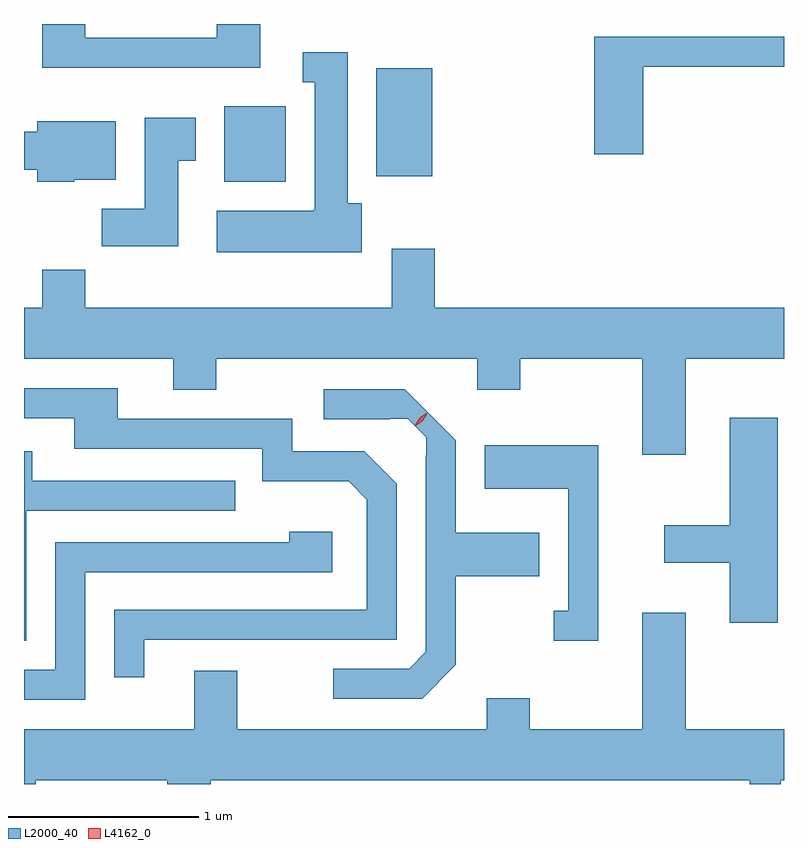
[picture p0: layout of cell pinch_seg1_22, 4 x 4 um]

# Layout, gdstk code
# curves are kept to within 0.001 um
import gdstk
lib = gdstk.Library(unit=1e-6, precision=1e-09)
def R(c, l, rs):  # rectangles x0, y0, x1, y1
    for r in rs: c.add(gdstk.rectangle(r[:2], r[2:], *l))
def P(c, l, *ps):  # polygons
    for p in ps: c.add(gdstk.Polygon(p, *l))
L2000_40 = (2000, 40)
L4162_0 = (4162, 0)

pinch_seg1_22 = lib.new_cell('pinch_seg1_22')
R(pinch_seg1_22, L2000_40, [(1098.361,904.946,1098.684,905.344), (1099.161,904.976,1099.454,905.544)])
P(pinch_seg1_22, L2000_40, [(1098.549,905.777),(1098.321,905.777),(1098.321,905.704),(1097.629,905.704),(1097.629,905.777),(1097.401,905.777),(1097.401,905.546),(1098.549,905.546)],
  [(1100.564,905.551),(1101.306,905.551),(1101.306,905.709),(1100.306,905.709),(1100.306,905.091),(1100.564,905.091)],
  [(1099.084,904.834),(1099.009,904.834),(1099.009,905.629),(1098.773,905.629),(1098.773,905.471),(1098.836,905.471),(1098.836,904.8),(1098.83,904.8),(1098.83,904.794),(1098.321,904.794),(1098.321,904.576),(1099.084,904.576)],
  [(1098.119,905.056),(1098.209,905.056),(1098.209,905.284),(1097.941,905.284),(1097.941,904.804),(1097.716,904.804),(1097.716,904.606),(1098.119,904.606)],
  [(1097.57,904.956),(1097.789,904.956),(1097.789,905.264),(1097.376,905.264),(1097.376,905.209),(1097.306,905.209),(1097.306,905.011),(1097.376,905.011),(1097.376,904.946),(1097.57,904.946)],
  [(1100.789,904.016),(1101.306,904.016),(1101.306,904.284),(1099.469,904.284),(1099.469,904.594),(1099.241,904.594),(1099.241,904.284),(1097.629,904.284),(1097.629,904.484),(1097.401,904.484),(1097.401,904.284),(1097.306,904.284),(1097.306,904.016),(1098.091,904.016),(1098.091,903.851),(1098.319,903.851),(1098.319,904.016),(1099.691,904.016),(1099.691,903.851),(1099.919,903.851),(1099.919,904.016),(1100.561,904.016),(1100.561,903.511),(1100.789,903.511)],
  [(1097.939,902.536),(1099.269,902.536),(1099.269,903.357),(1099.097,903.529),(1098.719,903.529),(1098.719,903.699),(1097.799,903.699),(1097.799,903.859),(1097.306,903.859),(1097.306,903.701),(1097.571,903.701),(1097.571,903.541),(1098.561,903.541),(1098.561,903.371),(1099.014,903.371),(1099.111,903.274),(1099.111,902.694),(1097.781,902.694),(1097.781,902.338),(1097.939,902.338)],
  [(1099.579,902.404),(1099.579,902.871),(1100.019,902.871),(1100.019,903.099),(1099.579,903.099),(1099.579,903.587),(1099.311,903.854),(1098.883,903.854),(1098.883,903.696),(1099.23,903.696),(1099.23,903.699),(1099.326,903.699),(1099.424,903.601),(1099.424,903.505),(1099.421,903.505),(1099.421,902.472),(1099.334,902.384),(1098.933,902.384),(1098.933,902.226),(1099.402,902.226)],
  [(1101.274,903.704),(1101.021,903.704),(1101.021,903.139),(1100.676,903.139),(1100.676,902.941),(1101.021,902.941),(1101.021,902.626),(1101.274,902.626)],
  [(1100.329,903.559),(1099.731,903.559),(1099.731,903.331),(1100.171,903.331),(1100.171,902.689),(1100.093,902.689),(1100.093,902.531),(1100.329,902.531)],
  [(1097.319,903.216),(1098.418,903.216),(1098.418,903.374),(1097.349,903.374),(1097.349,903.529),(1097.306,903.529),(1097.306,902.531),(1097.319,902.531)],
  [(1097.629,902.891),(1098.929,902.891),(1098.929,903.104),(1098.701,903.104),(1098.701,903.049),(1097.471,903.049),(1097.471,902.379),(1097.306,902.379),(1097.306,902.221),(1097.629,902.221)],
  [(1097.369,901.796),(1098.061,901.796),(1098.061,901.777),(1098.289,901.777),(1098.289,901.796),(1101.126,901.796),(1101.126,901.777),(1101.289,901.777),(1101.289,901.796),(1101.306,901.796),(1101.306,902.064),(1100.789,902.064),(1100.789,902.679),(1100.561,902.679),(1100.561,902.064),(1099.969,902.064),(1099.969,902.229),(1099.741,902.229),(1099.741,902.064),(1098.429,902.064),(1098.429,902.374),(1098.201,902.374),(1098.201,902.064),(1097.306,902.064),(1097.306,901.777),(1097.369,901.777)])
P(pinch_seg1_22, L4162_0, [(1099.364,903.661),(1099.364,903.662),(1099.39,903.703),(1099.43,903.731),(1099.431,903.731),(1099.431,903.73),(1099.404,903.689),(1099.364,903.661)],
  [(1099.366,903.667),(1099.366,903.668),(1099.388,903.705),(1099.424,903.729),(1099.424,903.729),(1099.424,903.728),(1099.402,903.691),(1099.366,903.667)])

lib.write_gds('pinch_seg1_22.gds')
